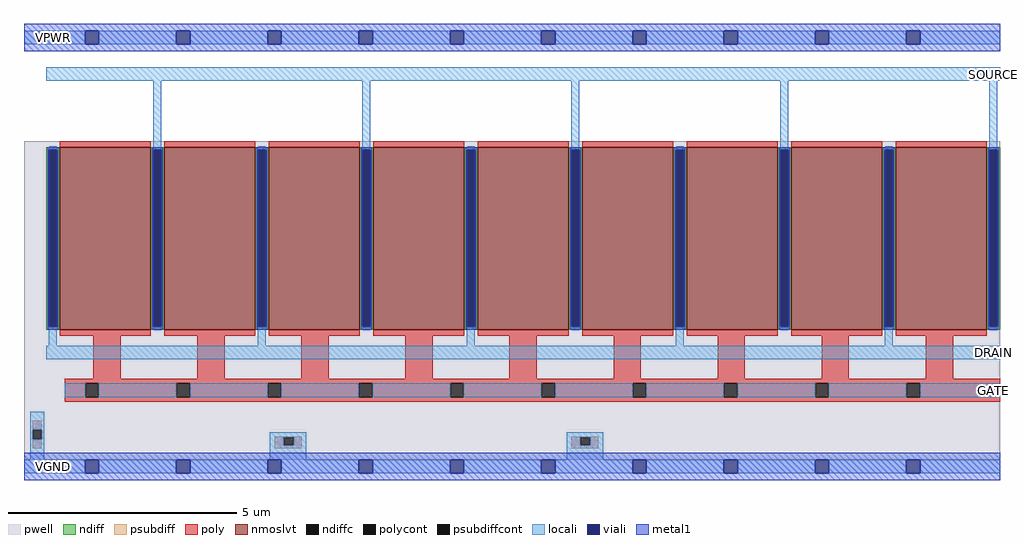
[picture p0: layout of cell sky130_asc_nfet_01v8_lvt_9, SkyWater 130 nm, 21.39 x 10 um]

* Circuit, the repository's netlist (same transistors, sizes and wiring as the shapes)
* NGSPICE file created from sky130_asc_nfet_01v8_lvt_9.ext - technology: sky130A

.subckt sky130_asc_nfet_01v8_lvt_9 GATE SOURCE DRAIN VPWR VGND
X0 SOURCE GATE DRAIN VGND sky130_fd_pr__nfet_01v8_lvt ad=5.8e+12p pd=4.29e+07u as=5.8e+12p ps=4.29e+07u w=4e+06u l=2e+06u
X1 DRAIN GATE SOURCE VGND sky130_fd_pr__nfet_01v8_lvt ad=0p pd=0u as=0p ps=0u w=4e+06u l=2e+06u
X2 SOURCE GATE DRAIN VGND sky130_fd_pr__nfet_01v8_lvt ad=0p pd=0u as=0p ps=0u w=4e+06u l=2e+06u
X3 DRAIN GATE SOURCE VGND sky130_fd_pr__nfet_01v8_lvt ad=0p pd=0u as=0p ps=0u w=4e+06u l=2e+06u
X4 SOURCE GATE DRAIN VGND sky130_fd_pr__nfet_01v8_lvt ad=0p pd=0u as=0p ps=0u w=4e+06u l=2e+06u
X5 DRAIN GATE SOURCE VGND sky130_fd_pr__nfet_01v8_lvt ad=0p pd=0u as=0p ps=0u w=4e+06u l=2e+06u
X6 SOURCE GATE DRAIN VGND sky130_fd_pr__nfet_01v8_lvt ad=0p pd=0u as=0p ps=0u w=4e+06u l=2e+06u
X7 SOURCE GATE DRAIN VGND sky130_fd_pr__nfet_01v8_lvt ad=0p pd=0u as=0p ps=0u w=4e+06u l=2e+06u
X8 DRAIN GATE SOURCE VGND sky130_fd_pr__nfet_01v8_lvt ad=0p pd=0u as=0p ps=0u w=4e+06u l=2e+06u
.ends

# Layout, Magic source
magic
tech sky130A
magscale 1 2
<< pwell >>
rect 120 30 4398 1426
<< nmoslvt >>
rect 276 600 676 1400
rect 734 600 1134 1400
rect 1192 600 1592 1400
rect 1650 600 2050 1400
rect 2108 600 2508 1400
rect 2566 600 2966 1400
rect 3024 600 3424 1400
rect 3482 600 3882 1400
rect 3940 600 4340 1400
<< ndiff >>
rect 218 1388 276 1400
rect 218 612 230 1388
rect 264 612 276 1388
rect 218 600 276 612
rect 676 1388 734 1400
rect 676 612 688 1388
rect 722 612 734 1388
rect 676 600 734 612
rect 1134 1388 1192 1400
rect 1134 612 1146 1388
rect 1180 612 1192 1388
rect 1134 600 1192 612
rect 1592 1388 1650 1400
rect 1592 612 1604 1388
rect 1638 612 1650 1388
rect 1592 600 1650 612
rect 2050 1388 2108 1400
rect 2050 612 2062 1388
rect 2096 612 2108 1388
rect 2050 600 2108 612
rect 2508 1388 2566 1400
rect 2508 612 2520 1388
rect 2554 612 2566 1388
rect 2508 600 2566 612
rect 2966 1388 3024 1400
rect 2966 612 2978 1388
rect 3012 612 3024 1388
rect 2966 600 3024 612
rect 3424 1388 3482 1400
rect 3424 612 3436 1388
rect 3470 612 3482 1388
rect 3424 600 3482 612
rect 3882 1388 3940 1400
rect 3882 612 3894 1388
rect 3928 612 3940 1388
rect 3882 600 3940 612
rect 4340 1388 4398 1400
rect 4340 612 4352 1388
rect 4386 612 4398 1388
rect 4340 600 4398 612
<< ndiffc >>
rect 230 612 264 1388
rect 688 612 722 1388
rect 1146 612 1180 1388
rect 1604 612 1638 1388
rect 2062 612 2096 1388
rect 2520 612 2554 1388
rect 2978 612 3012 1388
rect 3436 612 3470 1388
rect 3894 612 3928 1388
rect 4352 612 4386 1388
<< psubdiff >>
rect 158 160 198 200
rect 158 80 198 120
rect 1218 128 1338 130
rect 1218 92 1258 128
rect 1302 92 1338 128
rect 1218 80 1338 92
rect 2518 128 2638 130
rect 2518 92 2558 128
rect 2602 92 2638 128
rect 2518 80 2638 92
<< psubdiffcont >>
rect 158 120 198 160
rect 1258 92 1302 128
rect 2558 92 2602 128
<< poly >>
rect 276 1400 676 1426
rect 734 1400 1134 1426
rect 1192 1400 1592 1426
rect 1650 1400 2050 1426
rect 2108 1400 2508 1426
rect 2566 1400 2966 1426
rect 3024 1400 3424 1426
rect 3482 1400 3882 1426
rect 3940 1400 4340 1426
rect 276 574 676 600
rect 734 574 1134 600
rect 1192 574 1592 600
rect 1650 574 2050 600
rect 2108 574 2508 600
rect 2566 574 2966 600
rect 3024 574 3424 600
rect 3482 574 3882 600
rect 3940 574 4340 600
rect 424 384 544 574
rect 880 384 1000 574
rect 1336 384 1456 574
rect 1792 384 1912 574
rect 2248 384 2368 574
rect 2704 384 2824 574
rect 3160 384 3280 574
rect 3616 384 3736 574
rect 4072 384 4192 574
rect 298 364 4398 384
rect 298 304 388 364
rect 448 304 788 364
rect 848 304 1188 364
rect 1248 304 1588 364
rect 1648 304 1988 364
rect 2048 304 2388 364
rect 2448 304 2788 364
rect 2848 304 3188 364
rect 3248 304 3588 364
rect 3648 304 3988 364
rect 4048 304 4398 364
rect 298 284 4398 304
<< polycont >>
rect 388 304 448 364
rect 788 304 848 364
rect 1188 304 1248 364
rect 1588 304 1648 364
rect 1988 304 2048 364
rect 2388 304 2448 364
rect 2788 304 2848 364
rect 3188 304 3248 364
rect 3588 304 3648 364
rect 3988 304 4048 364
<< locali >>
rect 120 1850 388 1910
rect 448 1850 788 1910
rect 848 1850 1188 1910
rect 1248 1850 1588 1910
rect 1648 1850 1988 1910
rect 2048 1850 2388 1910
rect 2448 1850 2788 1910
rect 2848 1850 3188 1910
rect 3248 1850 3588 1910
rect 3648 1850 3988 1910
rect 4048 1850 4398 1910
rect 218 1690 4398 1750
rect 687 1404 721 1690
rect 1603 1404 1637 1690
rect 2519 1404 2553 1690
rect 3435 1404 3469 1690
rect 4351 1404 4385 1690
rect 230 1388 264 1404
rect 229 612 230 654
rect 687 1388 722 1404
rect 687 1386 688 1388
rect 229 596 264 612
rect 1146 1388 1180 1404
rect 688 596 722 612
rect 1145 612 1146 654
rect 1603 1388 1638 1404
rect 1603 1386 1604 1388
rect 1145 596 1180 612
rect 2062 1388 2096 1404
rect 1604 596 1638 612
rect 2061 612 2062 654
rect 2519 1388 2554 1404
rect 2519 1386 2520 1388
rect 2061 596 2096 612
rect 2978 1388 3012 1404
rect 2520 596 2554 612
rect 2977 612 2978 654
rect 3435 1388 3470 1404
rect 3435 1386 3436 1388
rect 2977 596 3012 612
rect 3894 1388 3928 1404
rect 3436 596 3470 612
rect 3893 612 3894 654
rect 4351 1388 4386 1404
rect 4351 1386 4352 1388
rect 3893 596 3928 612
rect 4352 596 4386 612
rect 229 530 263 596
rect 1145 530 1179 596
rect 2061 530 2095 596
rect 2977 530 3011 596
rect 3893 530 3927 596
rect 218 470 4398 530
rect 298 304 388 364
rect 448 304 788 364
rect 848 304 1188 364
rect 1248 304 1588 364
rect 1648 304 1988 364
rect 2048 304 2388 364
rect 2448 304 2788 364
rect 2848 304 3188 364
rect 3248 304 3588 364
rect 3648 304 3988 364
rect 4048 304 4398 364
rect 148 160 208 240
rect 148 120 158 160
rect 198 120 208 160
rect 148 30 208 120
rect 1198 128 1358 150
rect 1198 92 1258 128
rect 1302 92 1358 128
rect 1198 30 1358 92
rect 2498 128 2658 150
rect 2498 92 2558 128
rect 2602 92 2658 128
rect 2498 30 2658 92
rect 120 -30 388 30
rect 448 -30 788 30
rect 848 -30 1188 30
rect 1248 -30 1588 30
rect 1648 -30 1988 30
rect 2048 -30 2388 30
rect 2448 -30 2788 30
rect 2848 -30 3188 30
rect 3248 -30 3588 30
rect 3648 -30 3988 30
rect 4048 -30 4398 30
<< viali >>
rect 388 1850 448 1910
rect 788 1850 848 1910
rect 1188 1850 1248 1910
rect 1588 1850 1648 1910
rect 1988 1850 2048 1910
rect 2388 1850 2448 1910
rect 2788 1850 2848 1910
rect 3188 1850 3248 1910
rect 3588 1850 3648 1910
rect 3988 1850 4048 1910
rect 230 612 264 1388
rect 688 612 722 1388
rect 1146 612 1180 1388
rect 1604 612 1638 1388
rect 2062 612 2096 1388
rect 2520 612 2554 1388
rect 2978 612 3012 1388
rect 3436 612 3470 1388
rect 3894 612 3928 1388
rect 4352 612 4386 1388
rect 388 -30 448 30
rect 788 -30 848 30
rect 1188 -30 1248 30
rect 1588 -30 1648 30
rect 1988 -30 2048 30
rect 2388 -30 2448 30
rect 2788 -30 2848 30
rect 3188 -30 3248 30
rect 3588 -30 3648 30
rect 3988 -30 4048 30
<< metal1 >>
rect 120 1910 4398 1940
rect 120 1850 388 1910
rect 448 1850 788 1910
rect 848 1850 1188 1910
rect 1248 1850 1588 1910
rect 1648 1850 1988 1910
rect 2048 1850 2388 1910
rect 2448 1850 2788 1910
rect 2848 1850 3188 1910
rect 3248 1850 3588 1910
rect 3648 1850 3988 1910
rect 4048 1850 4398 1910
rect 120 1820 4398 1850
rect 224 1388 270 1400
rect 224 612 230 1388
rect 264 612 270 1388
rect 224 600 270 612
rect 682 1388 728 1400
rect 682 612 688 1388
rect 722 612 728 1388
rect 682 600 728 612
rect 1140 1388 1186 1400
rect 1140 612 1146 1388
rect 1180 612 1186 1388
rect 1140 600 1186 612
rect 1598 1388 1644 1400
rect 1598 612 1604 1388
rect 1638 612 1644 1388
rect 1598 600 1644 612
rect 2056 1388 2102 1400
rect 2056 612 2062 1388
rect 2096 612 2102 1388
rect 2056 600 2102 612
rect 2514 1388 2560 1400
rect 2514 612 2520 1388
rect 2554 612 2560 1388
rect 2514 600 2560 612
rect 2972 1388 3018 1400
rect 2972 612 2978 1388
rect 3012 612 3018 1388
rect 2972 600 3018 612
rect 3430 1388 3476 1400
rect 3430 612 3436 1388
rect 3470 612 3476 1388
rect 3430 600 3476 612
rect 3888 1388 3934 1400
rect 3888 612 3894 1388
rect 3928 612 3934 1388
rect 3888 600 3934 612
rect 4346 1388 4392 1400
rect 4346 612 4352 1388
rect 4386 612 4392 1388
rect 4346 600 4392 612
rect 120 30 4398 60
rect 120 -30 388 30
rect 448 -30 788 30
rect 848 -30 1188 30
rect 1248 -30 1588 30
rect 1648 -30 1988 30
rect 2048 -30 2388 30
rect 2448 -30 2788 30
rect 2848 -30 3188 30
rect 3248 -30 3588 30
rect 3648 -30 3988 30
rect 4048 -30 4398 30
rect 120 -60 4398 -30
<< labels >>
flabel metal1 218 1850 278 1910 1 FreeSans 800 0 0 0 VPWR
port 4 n power bidirectional
flabel metal1 218 -30 278 30 1 FreeSans 800 0 0 0 VGND
port 5 n ground bidirectional
flabel locali 4338 1690 4398 1750 1 FreeSans 800 0 0 0 SOURCE
port 2 n default bidirectional
flabel locali 4338 470 4398 530 1 FreeSans 800 0 0 0 DRAIN
port 3 n default bidirectional
flabel locali 4338 304 4398 364 1 FreeSans 800 0 0 0 GATE
port 1 n default bidirectional
<< properties >>
string FIXED_BBOX 0 0 4518 1880
string LEFclass CORE
string LEFsite unitasc
<< end >>
